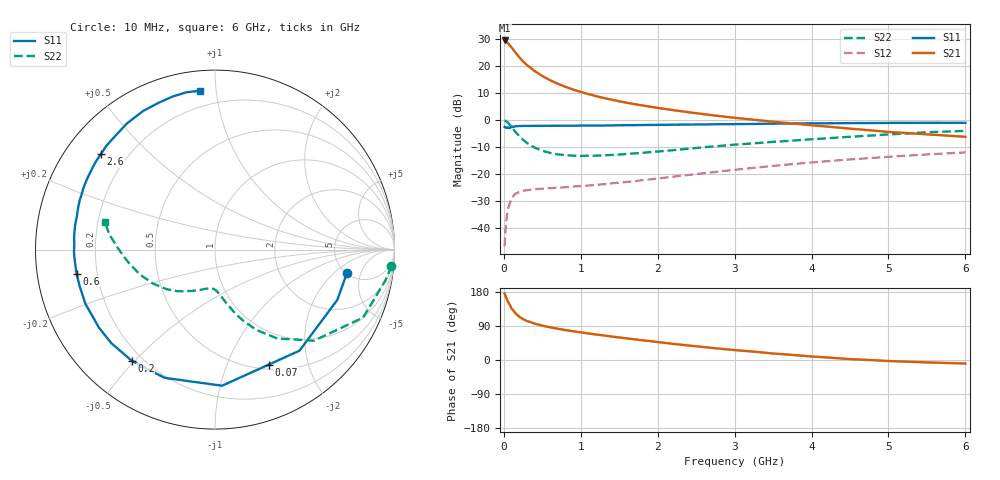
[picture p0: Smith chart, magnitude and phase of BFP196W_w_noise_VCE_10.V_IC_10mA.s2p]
! Infineon Technologies  Discrete & RF Semiconductors
! BFP196W
! VCE =  10. V,  IC =  10 mA
! Common Emitter S-Parameters:  Jan 2017
# GHz  S  MA  R  50
!  f  S11  S21  S12  S22
! GHz  MAG  ANG  MAG  ANG  MAG  ANG  MAG  ANG
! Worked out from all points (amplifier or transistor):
!   77 points, 10 MHz to 6 GHz, reference 50 ohm
!   highest |S21| = 29.5 dB at 10 MHz (marker M1)
!   |S21| within 3 dB of that: start of sweep to 112 MHz
!   unconditionally stable (mu >= 1): 1.274 GHz to 3.162 GHz
!   at 130 MHz: K = 0.15, MSG = 26.9 dB, |S12| = -28.0 dB
!   at 2.2 GHz: K = 1.09, MAG = 10.5 dB, |S12| = -21.0 dB
!   at 6 GHz: K = 0.86, MSG = 2.9 dB, |S12| = -12.0 dB
!   lowest NFmin = 0.91 dB at 450 MHz
!   S11 on the Smith chart (normalised r, x): 10 MHz: 5.09, -2.99; 70 MHz: 0.55, -1.42; 200 MHz: 0.16, -0.49; 600 MHz: 0.12, -0.08; 2.6 GHz: 0.11, +0.36; 6 GHz: 0.11, +0.90
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0.01  0.7467 -10.0  29.82 175.5  0.0046 83.1  0.9875 -5.3
0.02  0.7369 -22.3  29.4 169.5  0.0086 80.1  0.9658 -10.1
0.05  0.7341 -50.1  27.14 155.0  0.0213 66.8  0.9081 -24.6
0.07  0.7073 -65.0  24.87 148.3  0.0267 58.1  0.8352 -31.0
0.1  0.7594 -87.0  22.25 136.0  0.0354 50.3  0.7497 -42.6
0.15  0.7678 -111.5  17.89 123.3  0.043 41.0  0.6044 -55.0
0.2  0.7739 -126.9  14.59 114.4  0.0463 34.7  0.5038 -62.7
0.25  0.7781 -138.0  12.21 107.8  0.0489 30.4  0.4295 -68.1
0.3  0.7791 -146.1  10.44 103.1  0.0501 28.4  0.3763 -72.2
0.4  0.7826 -157.3  8.078 95.9  0.0522 25.9  0.3081 -77.8
0.5  0.781 -164.6  6.53 90.6  0.0535 25.4  0.2695 -81.7
0.6  0.7829 -170.2  5.485 86.3  0.0547 26.0  0.2461 -85.0
0.7  0.7835 -174.8  4.708 82.6  0.0555 27.2  0.2307 -87.6
0.8  0.7858 -178.7  4.137 79.0  0.0569 28.8  0.2238 -90.0
1.1  0.7897 172.1  3.023 70.1  0.0611 33.1  0.2182 -96.8
1.5  0.7988 162.2  2.222 59.5  0.0692 39.2  0.2294 -106.3
2.1  0.8159 149.3  1.601 45.1  0.0858 46.3  0.2683 -120.8
2.6  0.8293 139.9  1.282 34.1  0.1032 49.3  0.3131 -132.4
3.1  0.8421 131.4  1.064 24.5  0.1239 49.6  0.3576 -143.4
4.1  0.8704 116.1  0.779 8.0  0.168 46.0  0.4491 -163.8
5.1  0.8855 104.4  0.59 -3.4  0.2124 39.1  0.5509 177.6
6  0.8889 95.5  0.489 -9.3  0.2515 31.7  0.6306 166.1
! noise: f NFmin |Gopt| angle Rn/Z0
0.45  0.91  0.36  146  0.06
0.9  1.19  0.53  168  0.05
1.9  2.27  0.71  -158  0.1
2.4  2.77  0.76  -149  0.22
